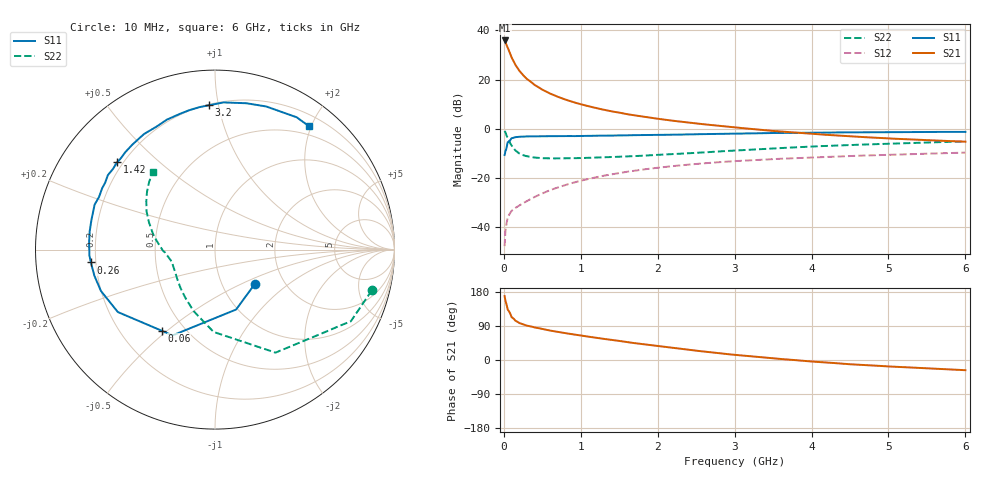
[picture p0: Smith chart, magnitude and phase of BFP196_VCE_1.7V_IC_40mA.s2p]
! Infineon Technologies  Discrete & RF Semiconductors
! BFP196
! VCE = 1.7 V,  IC =  40mA
! Common Emitter S-Parameters:  Jan 2016
# GHz  S  MA  R  50
!  f  S11  S21  S12  S22
! GHz  MAG  ANG  MAG  ANG  MAG  ANG  MAG  ANG
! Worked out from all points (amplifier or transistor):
!   210 points, 10 MHz to 6 GHz, reference 50 ohm
!   highest |S21| = 35.9 dB at 10 MHz (marker M1)
!   |S21| within 3 dB of that: start of sweep to 51.35 MHz
!   unconditionally stable (mu >= 1): 463.9 MHz to 4.452 GHz; 4.581 GHz to 4.994 GHz
!   at 185 MHz: K = 0.69, MSG = 28.0 dB, |S12| = -31.5 dB
!   at 1.52 GHz: K = 1.09, MAG = 10.3 dB, |S12| = -17.9 dB
!   at 6 GHz: K = 0.99, MSG = 2.2 dB, |S12| = -9.7 dB
!   S11 on the Smith chart (normalised r, x): 10 MHz: 1.42, -0.60; 60 MHz: 0.38, -0.48; 260 MHz: 0.18, -0.05; 1.42 GHz: 0.18, +0.37; 3.2 GHz: 0.21, +0.94; 6 GHz: 0.36, +1.96
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0.01  0.2932 -41.1  62.61 168.6  0.0041 80.2  0.9027 -14.6
0.02  0.354 -70.6  58.45 157.0  0.0081 71.3  0.8558 -27.8
0.05  0.533 -116.3  44.82 133.3  0.0157 54.8  0.6657 -59.6
0.06  0.5408 -123.3  41.21 130.6  0.0168 52.7  0.6127 -64.1
0.1  0.6436 -147.3  28.25 113.4  0.0214 46.5  0.4587 -91.0
0.15  0.6761 -160.1  19.89 103.7  0.0246 46.6  0.363 -109.1
0.2  0.6877 -167.8  15.25 97.7  0.0274 49.2  0.3161 -121.3
0.26  0.6952 -174.1  11.87 93.2  0.0313 51.9  0.2874 -131.9
0.3  0.7005 -177.3  10.3 90.6  0.0339 53.3  0.2765 -137.0
0.4  0.7026 176.6  7.794 85.9  0.0411 57.2  0.26 -146.4
0.5  0.7056 171.7  6.246 81.8  0.0484 59.1  0.2527 -152.7
0.6  0.7079 167.3  5.216 77.7  0.0565 60.1  0.2503 -156.8
0.7  0.7108 162.9  4.486 74.0  0.0639 60.9  0.2501 -160.0
0.9  0.7097 155.6  3.488 67.7  0.0799 60.2  0.2512 -165.0
1.02  0.7156 150.9  3.096 64.0  0.0894 59.6  0.2543 -166.9
1.42  0.7305 138.2  2.238 52.6  0.1198 55.2  0.2669 -172.5
2.02  0.7555 120.9  1.586 36.5  0.1627 47.2  0.2961 179.3
3.1  0.8012 94.3  1.033 11.8  0.2242 31.6  0.3673 163.3
3.2  0.8049 92.3  0.999 10.1  0.2286 30.2  0.3747 161.8
4.1  0.8354 76.4  0.771 -5.3  0.2646 19.0  0.4428 149.5
5.1  0.8545 63.0  0.626 -17.9  0.2991 7.9  0.5029 138.4
6  0.864 52.8  0.547 -26.9  0.3278 -2.1  0.5535 128.8
